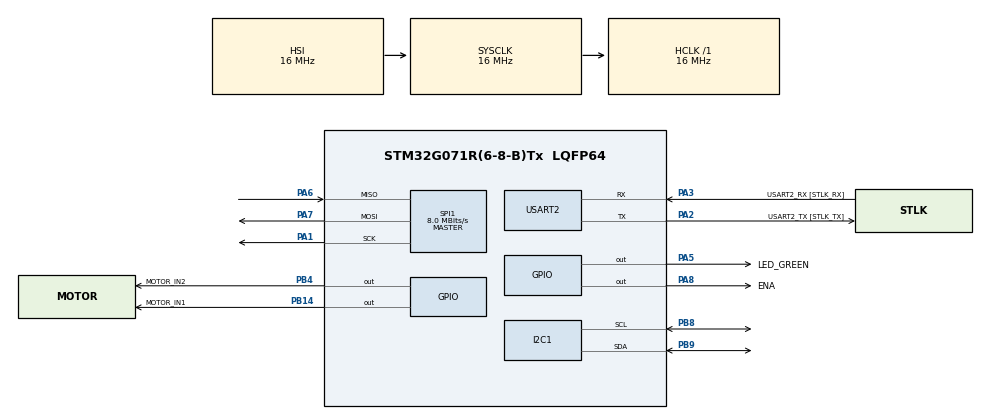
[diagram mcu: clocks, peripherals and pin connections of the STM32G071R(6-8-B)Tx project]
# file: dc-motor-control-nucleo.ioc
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FATFS._MAX_SS=4096
FATFS._USE_LFN=1
Mcu.Family=STM32G0
Mcu.Name=STM32G071R(6-8-B)Tx
Mcu.Package=LQFP64
PA1.Mode=Full_Duplex_Master
PA1.Signal=SPI1_SCK
PA13.GPIO_Label=TMS
PA13.Mode=Serial_Wire
PA13.Signal=SYS_SWDIO
PA14-BOOT0.GPIO_Label=TCK
PA14-BOOT0.Mode=Serial_Wire
PA14-BOOT0.Signal=SYS_SWCLK
PA2.GPIO_Label=USART2_TX [STLK_TX]
PA2.GPIO_PuPd=GPIO_PULLUP
PA2.Mode=Asynchronous
PA2.Signal=USART2_TX
PA3.GPIO_Label=USART2_RX [STLK_RX]
PA3.GPIO_PuPd=GPIO_PULLUP
PA3.Mode=Asynchronous
PA3.Signal=USART2_RX
PA5.GPIO_Label=LED_GREEN
PA5.GPIO_Speed=GPIO_SPEED_FREQ_HIGH
PA5.Signal=GPIO_Output
PA6.Mode=Full_Duplex_Master
PA6.Signal=SPI1_MISO
PA7.Mode=Full_Duplex_Master
PA7.Signal=SPI1_MOSI
PA8.GPIO_Label=ENA
PA8.PinState=GPIO_PIN_SET
PA8.Signal=GPIO_Output
PB14.GPIO_Label=MOTOR_IN1
PB14.PinState=GPIO_PIN_SET
PB14.Signal=GPIO_Output
PB4.GPIO_Label=MOTOR_IN2
PB4.PinState=GPIO_PIN_SET
PB4.Signal=GPIO_Output
PB8.Mode=I2C
PB8.Signal=I2C1_SCL
PB9.Mode=I2C
PB9.Signal=I2C1_SDA
PC13.Mode=SYS_WakeUp1
PC13.Signal=SYS_WKUP2
PC14-OSC32_IN\ (PC14).Mode=LSE-External-Oscillator
PC14-OSC32_IN\ (PC14).Signal=RCC_OSC32_IN
PC15-OSC32_OUT\ (PC15).Mode=LSE-External-Oscillator
PC15-OSC32_OUT\ (PC15).Signal=RCC_OSC32_OUT
PF0-OSC_IN\ (PF0).GPIO_Label=MCO
PF0-OSC_IN\ (PF0).Mode=HSE-External-Clock-Source
PF0-OSC_IN\ (PF0).Signal=RCC_OSC_IN
ProjectManager.HeapSize=0x200
ProjectManager.StackSize=0x400
ProjectManager.TargetToolchain=STM32CubeIDE
RCC.AHBFreq_Value=16000000
RCC.CortexFreq_Value=16000000
RCC.EXTERNAL_CLOCK_VALUE=12288000
RCC.HCLKFreq_Value=16000000
RCC.HSE_VALUE=8000000
RCC.HSI_VALUE=16000000
RCC.SYSCLKFreq_VALUE=16000000
RCC.VCOOutputFreq_Value=128000000
SPI1.CalculateBaudRate=8.0 MBits/s
SPI1.Direction=SPI_DIRECTION_2LINES
SPI1.Mode=SPI_MODE_MASTER
SPI1.VirtualType=VM_MASTER
USART2.VirtualMode-Asynchronous=VM_ASYNC
VP_FATFS_VS_Generic.Mode=User_defined
VP_SYS_VS_DBSignals.Mode=DisableDeadBatterySignals
board=NUCLEO-G071RB

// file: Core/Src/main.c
/* USER CODE BEGIN Header */
/**
  ******************************************************************************
  * @file           : main.c
  * @brief          : Main program body
  ******************************************************************************
  * @attention
  *
  * Copyright (c) 2024 STMicroelectronics.
  * All rights reserved.
  *
  * This software is licensed under terms that can be found in the LICENSE file
  * in the root directory of this software component.
  * If no LICENSE file comes with this software, it is provided AS-IS.
  *
  ******************************************************************************
  */
/* USER CODE END Header */
#include "main.h"
#include "app_fatfs.h"

/* USER CODE BEGIN PD */
SPL06_007 pressureSensor;		/* Instance of sensor */
/* USER CODE END PD */

I2C_HandleTypeDef hi2c1;

SPI_HandleTypeDef hspi1;

UART_HandleTypeDef huart2;

void SystemClock_Config(void);
static void MX_GPIO_Init(void);
static void MX_USART2_UART_Init(void);
static void MX_I2C1_Init(void);
static void MX_SPI1_Init(void);
/* USER CODE BEGIN PFP */
void motorSpinny();
void i2cScanner();
void printBits(uint8_t value);
/* USER CODE END PFP */

/* USER CODE BEGIN 0 */

/* UART Variables */
uint8_t msg[40];

/* I2C Scanner Variables */
uint8_t Buffer[25] = {0};
uint8_t Space[] = " - ";
uint8_t StartMSG[] = "Starting I2C Scanning: \r\n";
uint8_t EndMSG[] = "Done! \r\n\r\n";

/* USER CODE END 0 */

int main(void)
{

  /* MCU Configuration--------------------------------------------------------*/

  /* Reset of all peripherals, Initializes the Flash interface and the Systick. */
  HAL_Init();

  /* Configure the system clock */
  SystemClock_Config();

  /* Initialize all configured peripherals */
  MX_GPIO_Init();
  MX_USART2_UART_Init();
  MX_I2C1_Init();
  MX_SPI1_Init();
  if (MX_FATFS_Init() != APP_OK) {
    Error_Handler();
  }
  /* USER CODE BEGIN 2 */

  /* Run I2C scanner */
  // i2cScanner();

  /* Initialise pressure sensor */
  uint8_t ret = SPL06_007_Initialise( &pressureSensor, &hi2c1 );
  if (ret == 0){
	  // Success
	  sprintf(msg, "Successfully Connected to SPL006. \r\n");
	  HAL_UART_Transmit(&huart2, (uint8_t*) msg, strlen(msg), HAL_MAX_DELAY);
  } else {
	  // Errors
	  sprintf(msg, "Number of errors: %d\r\n", ret);
	  HAL_UART_Transmit(&huart2, (uint8_t*) msg, strlen(msg), HAL_MAX_DELAY);
  }

  /* Check Sensor Operating Mode and Status (MEAS_CFG) Register */
  uint8_t MEAS_CFG = SPL06_007_getRegisterValue(&pressureSensor, SPL06_REG_MEAS_CFG_ADDR);
  sprintf(msg, "MEAS_CFG: 0x%02X\r\n", MEAS_CFG);
  HAL_UART_Transmit(&huart2, (uint8_t*) msg, strlen(msg), HAL_MAX_DELAY);

  /* Check Pressure Configuration (PRS_CFG) Register */
  uint8_t PRS_CFG = SPL06_007_getRegisterValue(&pressureSensor, SPL06_REG_PRS_CFG_ADDR);
  sprintf(msg, "PRS_CFG: 0x%02X\r\n", PRS_CFG);
  HAL_UART_Transmit(&huart2, (uint8_t*) msg, strlen(msg), HAL_MAX_DELAY);

  /* Check Temperature Configuration (TMP_CFG) Register */
  uint8_t TMP_CFG = SPL06_007_getRegisterValue(&pressureSensor, SPL06_REG_TMP_CFG_ADDR);
  sprintf(msg, "TMP_CFG: 0x%02X\r\n", TMP_CFG);
  HAL_UART_Transmit(&huart2, (uint8_t*) msg, strlen(msg), HAL_MAX_DELAY);

  /* Check Interrupt and FIFO configuration (CFG_REG) Register */
  uint8_t CFG_REG = SPL06_007_getRegisterValue(&pressureSensor, SPL06_REG_CFG_REG_ADDR);
  sprintf(msg, "CFG_REG: 0x%02X\r\n", CFG_REG);
  HAL_UART_Transmit(&huart2, (uint8_t*) msg, strlen(msg), HAL_MAX_DELAY);

  /* Set MEAS_CTRL to Command Mode - Temperature Measurement */
  /*
  uint8_t newRegValue = 0xC1;
  HAL_StatusTypeDef status = SPL06_007_WriteRegister(&pressureSensor, SPL06_REG_MEAS_CFG_ADDR, &newRegValue);
  if (status == HAL_OK)
  {
	  sprintf(msg, "Successfully wrote 0x%02X to register 0x%02x\r\n", newRegValue, SPL06_REG_MEAS_CFG_ADDR);
  }
  else
  {
	  sprintf(msg, "Failed to write to register 0x%02x: %d\r\n", SPL06_REG_MEAS_CFG_ADDR, status);
  }
  HAL_UART_Transmit(&huart2, (uint8_t*)msg, strlen(msg), HAL_MAX_DELAY);
  */

  /* USER CODE END 2 */

  /* Infinite loop */
  while (1)
  {

  }
}

void SystemClock_Config(void)
{
  RCC_OscInitTypeDef RCC_OscInitStruct = {0};
  RCC_ClkInitTypeDef RCC_ClkInitStruct = {0};

  /** Configure the main internal regulator output voltage
  */
  HAL_PWREx_ControlVoltageScaling(PWR_REGULATOR_VOLTAGE_SCALE1);

  /** Initializes the RCC Oscillators according to the specified parameters
  * in the RCC_OscInitTypeDef structure.
  */
  RCC_OscInitStruct.OscillatorType = RCC_OSCILLATORTYPE_HSI;
  RCC_OscInitStruct.HSIState = RCC_HSI_ON;
  RCC_OscInitStruct.HSIDiv = RCC_HSI_DIV1;
  RCC_OscInitStruct.HSICalibrationValue = RCC_HSICALIBRATION_DEFAULT;
  RCC_OscInitStruct.PLL.PLLState = RCC_PLL_NONE;
  if (HAL_RCC_OscConfig(&RCC_OscInitStruct) != HAL_OK)
  {
    Error_Handler();
  }

  /** Initializes the CPU, AHB and APB buses clocks
  */
  RCC_ClkInitStruct.ClockType = RCC_CLOCKTYPE_HCLK|RCC_CLOCKTYPE_SYSCLK
                              |RCC_CLOCKTYPE_PCLK1;
  RCC_ClkInitStruct.SYSCLKSource = RCC_SYSCLKSOURCE_HSI;
  RCC_ClkInitStruct.AHBCLKDivider = RCC_SYSCLK_DIV1;
  RCC_ClkInitStruct.APB1CLKDivider = RCC_HCLK_DIV1;

  if (HAL_RCC_ClockConfig(&RCC_ClkInitStruct, FLASH_LATENCY_0) != HAL_OK)
  {
    Error_Handler();
  }
}

static void MX_I2C1_Init(void)
{

  hi2c1.Instance = I2C1;
  hi2c1.Init.Timing = 0x00303D5B;
  hi2c1.Init.OwnAddress1 = 0;
  hi2c1.Init.AddressingMode = I2C_ADDRESSINGMODE_7BIT;
  hi2c1.Init.DualAddressMode = I2C_DUALADDRESS_DISABLE;
  hi2c1.Init.OwnAddress2 = 0;
  hi2c1.Init.OwnAddress2Masks = I2C_OA2_NOMASK;
  hi2c1.Init.GeneralCallMode = I2C_GENERALCALL_DISABLE;
  hi2c1.Init.NoStretchMode = I2C_NOSTRETCH_DISABLE;
  if (HAL_I2C_Init(&hi2c1) != HAL_OK)
  {
    Error_Handler();
  }

  /** Configure Analogue filter
  */
  if (HAL_I2CEx_ConfigAnalogFilter(&hi2c1, I2C_ANALOGFILTER_ENABLE) != HAL_OK)
  {
    Error_Handler();
  }

  /** Configure Digital filter
  */
  if (HAL_I2CEx_ConfigDigitalFilter(&hi2c1, 0) != HAL_OK)
  {
    Error_Handler();
  }

}

static void MX_SPI1_Init(void)
{

  /* SPI1 parameter configuration*/
  hspi1.Instance = SPI1;
  hspi1.Init.Mode = SPI_MODE_MASTER;
  hspi1.Init.Direction = SPI_DIRECTION_2LINES;
  hspi1.Init.DataSize = SPI_DATASIZE_4BIT;
  hspi1.Init.CLKPolarity = SPI_POLARITY_LOW;
  hspi1.Init.CLKPhase = SPI_PHASE_1EDGE;
  hspi1.Init.NSS = SPI_NSS_SOFT;
  hspi1.Init.BaudRatePrescaler = SPI_BAUDRATEPRESCALER_2;
  hspi1.Init.FirstBit = SPI_FIRSTBIT_MSB;
  hspi1.Init.TIMode = SPI_TIMODE_DISABLE;
  hspi1.Init.CRCCalculation = SPI_CRCCALCULATION_DISABLE;
  hspi1.Init.CRCPolynomial = 7;
  hspi1.Init.CRCLength = SPI_CRC_LENGTH_DATASIZE;
  hspi1.Init.NSSPMode = SPI_NSS_PULSE_ENABLE;
  if (HAL_SPI_Init(&hspi1) != HAL_OK)
  {
    Error_Handler();
  }

}

static void MX_USART2_UART_Init(void)
{

  huart2.Instance = USART2;
  huart2.Init.BaudRate = 115200;
  huart2.Init.WordLength = UART_WORDLENGTH_8B;
  huart2.Init.StopBits = UART_STOPBITS_1;
  huart2.Init.Parity = UART_PARITY_NONE;
  huart2.Init.Mode = UART_MODE_TX_RX;
  huart2.Init.HwFlowCtl = UART_HWCONTROL_NONE;
  huart2.Init.OverSampling = UART_OVERSAMPLING_16;
  huart2.Init.OneBitSampling = UART_ONE_BIT_SAMPLE_DISABLE;
  huart2.Init.ClockPrescaler = UART_PRESCALER_DIV1;
  huart2.AdvancedInit.AdvFeatureInit = UART_ADVFEATURE_NO_INIT;
  if (HAL_UART_Init(&huart2) != HAL_OK)
  {
    Error_Handler();
  }
  if (HAL_UARTEx_SetTxFifoThreshold(&huart2, UART_TXFIFO_THRESHOLD_1_8) != HAL_OK)
  {
    Error_Handler();
  }
  if (HAL_UARTEx_SetRxFifoThreshold(&huart2, UART_RXFIFO_THRESHOLD_1_8) != HAL_OK)
  {
    Error_Handler();
  }
  if (HAL_UARTEx_DisableFifoMode(&huart2) != HAL_OK)
  {
    Error_Handler();
  }

}

static void MX_GPIO_Init(void)
{
  GPIO_InitTypeDef GPIO_InitStruct = {0};

  /* GPIO Ports Clock Enable */
  __HAL_RCC_GPIOC_CLK_ENABLE();
  __HAL_RCC_GPIOF_CLK_ENABLE();
  __HAL_RCC_GPIOA_CLK_ENABLE();
  __HAL_RCC_GPIOB_CLK_ENABLE();

  /*Configure GPIO pin Output Level */
  HAL_GPIO_WritePin(LED_GREEN_GPIO_Port, LED_GREEN_Pin, GPIO_PIN_RESET);

  /*Configure GPIO pin Output Level */
  HAL_GPIO_WritePin(GPIOB, MOTOR_IN1_Pin|MOTOR_IN2_Pin, GPIO_PIN_SET);

  /*Configure GPIO pin Output Level */
  HAL_GPIO_WritePin(ENA_GPIO_Port, ENA_Pin, GPIO_PIN_SET);

  /*Configure GPIO pin : LED_GREEN_Pin */
  GPIO_InitStruct.Pin = LED_GREEN_Pin;
  GPIO_InitStruct.Mode = GPIO_MODE_OUTPUT_PP;
  GPIO_InitStruct.Pull = GPIO_NOPULL;
  GPIO_InitStruct.Speed = GPIO_SPEED_FREQ_HIGH;
  HAL_GPIO_Init(LED_GREEN_GPIO_Port, &GPIO_InitStruct);

  /*Configure GPIO pins : MOTOR_IN1_Pin MOTOR_IN2_Pin */
  GPIO_InitStruct.Pin = MOTOR_IN1_Pin|MOTOR_IN2_Pin;
  GPIO_InitStruct.Mode = GPIO_MODE_OUTPUT_PP;
  GPIO_InitStruct.Pull = GPIO_NOPULL;
  GPIO_InitStruct.Speed = GPIO_SPEED_FREQ_LOW;
  HAL_GPIO_Init(GPIOB, &GPIO_InitStruct);

  /*Configure GPIO pin : ENA_Pin */
  GPIO_InitStruct.Pin = ENA_Pin;
  GPIO_InitStruct.Mode = GPIO_MODE_OUTPUT_PP;
  GPIO_InitStruct.Pull = GPIO_NOPULL;
  GPIO_InitStruct.Speed = GPIO_SPEED_FREQ_LOW;
  HAL_GPIO_Init(ENA_GPIO_Port, &GPIO_InitStruct);

}

/* USER CODE BEGIN 4 */

// Make the motor go spinny
void motorSpinny(){
	HAL_GPIO_WritePin(ENA_GPIO_Port, ENA_Pin, GPIO_PIN_SET);
	HAL_GPIO_WritePin(MOTOR_IN1_GPIO_Port, MOTOR_IN1_Pin, GPIO_PIN_SET);
	HAL_GPIO_WritePin(MOTOR_IN2_GPIO_Port, MOTOR_IN2_Pin, GPIO_PIN_RESET);
	HAL_Delay(2000);

	//HAL_GPIO_WritePin(ENA_GPIO_Port, ENA_Pin, GPIO_PIN_RESET);
	HAL_GPIO_WritePin(MOTOR_IN1_GPIO_Port, MOTOR_IN1_Pin, GPIO_PIN_RESET);
	HAL_GPIO_WritePin(MOTOR_IN2_GPIO_Port, MOTOR_IN2_Pin, GPIO_PIN_SET);
	HAL_Delay(2000);
}

// I2C Scanner
void i2cScanner(){
	uint8_t i = 0, ret;
	HAL_UART_Transmit(&huart2, StartMSG, sizeof(StartMSG), 10000);
	for(i=1; i<128; i++)
	{
		ret = HAL_I2C_IsDeviceReady(&hi2c1, (uint16_t)(i<<1), 3, 5);
		if (ret != HAL_OK) /* No ACK Received At That Address */
		{
			HAL_UART_Transmit(&huart2, Space, sizeof(Space), 10000);
		}
		else if(ret == HAL_OK)
		{
			sprintf(Buffer, "0x%X", i);
			HAL_UART_Transmit(&huart2, Buffer, sizeof(Buffer), 10000);
		}
	}
	HAL_UART_Transmit(&huart2, EndMSG, sizeof(EndMSG), 10000);
}

// Read each bit in a register
void printBits(uint8_t value){
	for (int i = 7; i >= 0; i--) // Iterate from bit 7 to bit 0
	{
		uint8_t bit = (value >> i) & 0x01; // Shift the bit to the rightmost position and mask with 0x01
		sprintf(msg, "Bit %d: %d\r\n", i, bit);
		HAL_UART_Transmit(&huart2, (uint8_t*)msg, strlen(msg), HAL_MAX_DELAY);
	}
}

/* USER CODE END 4 */

void Error_Handler(void)
{
  __disable_irq();
  while (1)
  {
  }
}
